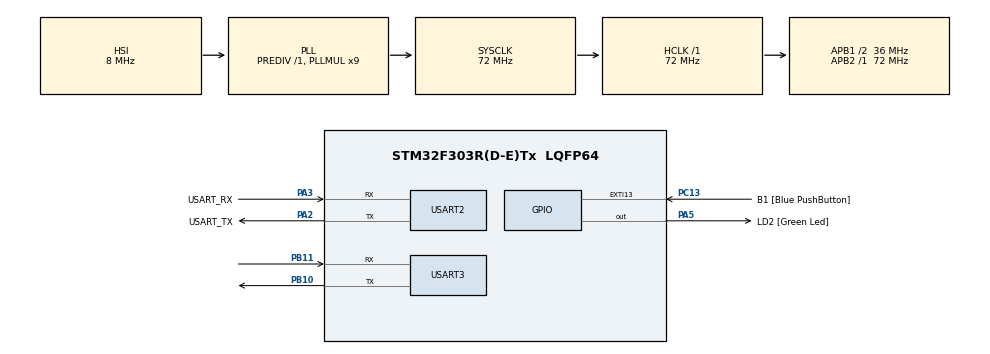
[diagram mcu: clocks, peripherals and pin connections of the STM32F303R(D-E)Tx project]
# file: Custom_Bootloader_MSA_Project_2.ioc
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Mcu.Family=STM32F3
Mcu.Name=STM32F303R(D-E)Tx
Mcu.Package=LQFP64
NVIC.PriorityGroup=NVIC_PRIORITYGROUP_0
PA13.GPIO_Label=TMS
PA13.Mode=Serial_Wire
PA13.Signal=SYS_JTMS-SWDIO
PA14.GPIO_Label=TCK
PA14.Mode=Serial_Wire
PA14.Signal=SYS_JTCK-SWCLK
PA2.GPIO_Label=USART_TX
PA2.GPIO_Mode=GPIO_MODE_AF_PP
PA2.GPIO_PuPd=GPIO_NOPULL
PA2.GPIO_Speed=GPIO_SPEED_FREQ_LOW
PA2.Mode=Asynchronous
PA2.Signal=USART2_TX
PA3.GPIO_Label=USART_RX
PA3.GPIO_Mode=GPIO_MODE_AF_PP
PA3.GPIO_PuPd=GPIO_NOPULL
PA3.GPIO_Speed=GPIO_SPEED_FREQ_LOW
PA3.Mode=Asynchronous
PA3.Signal=USART2_RX
PA5.GPIO_Label=LD2 [Green Led]
PA5.GPIO_Mode=GPIO_MODE_OUTPUT_PP
PA5.GPIO_PuPd=GPIO_NOPULL
PA5.GPIO_Speed=GPIO_SPEED_FREQ_LOW
PA5.Signal=GPIO_Output
PB10.Mode=Asynchronous
PB10.Signal=USART3_TX
PB11.Mode=Asynchronous
PB11.Signal=USART3_RX
PB3.GPIO_Label=SWO
PB3.Signal=SYS_JTDO-TRACESWO
PC13.GPIO_Label=B1 [Blue PushButton]
PC13.GPIO_ModeDefaultEXTI=GPIO_MODE_IT_FALLING
PC13.Signal=GPXTI13
PC14-OSC32_IN.Mode=LSE-External-Oscillator
PC14-OSC32_IN.Signal=RCC_OSC32_IN
PC15-OSC32_OUT.Mode=LSE-External-Oscillator
PC15-OSC32_OUT.Signal=RCC_OSC32_OUT
PF0-OSC_IN.Mode=HSE-External-Clock-Source
PF0-OSC_IN.Signal=RCC_OSC_IN
PF1-OSC_OUT.Signal=RCC_OSC_OUT
ProjectManager.HeapSize=0x200
ProjectManager.StackSize=0x400
ProjectManager.TargetToolchain=STM32CubeIDE
RCC.AHBFreq_Value=72000000
RCC.APB1CLKDivider=RCC_HCLK_DIV2
RCC.APB1Freq_Value=36000000
RCC.APB1TimFreq_Value=72000000
RCC.APB2Freq_Value=72000000
RCC.APB2TimFreq_Value=72000000
RCC.CortexFreq_Value=72000000
RCC.HCLKFreq_Value=72000000
RCC.HSE_VALUE=8000000
RCC.HSI_VALUE=8000000
RCC.PLLM=8
RCC.PLLMUL=RCC_PLL_MUL9
RCC.PLLN=336
RCC.PLLP=RCC_PLLP_DIV4
RCC.PLLQ=7
RCC.RCC_PLLsource_Clock_Source_FROM_HSE=RCC_HSE_PREDIV_DIV2
RCC.SYSCLKFreq_VALUE=72000000
RCC.SYSCLKSourceVirtual=RCC_SYSCLKSOURCE_PLLCLK
RCC.USBFreq_Value=72000000
USART2.VirtualMode-Asynchronous=VM_ASYNC
USART3.VirtualMode-Asynchronous=VM_ASYNC
VP_CRC_VS_CRC.Mode=CRC_Activate
board=NUCLEO-F303RE

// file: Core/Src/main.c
/* USER CODE BEGIN Header */
/**
  ******************************************************************************
  * @file           : main.c
  * @brief          : Main program body
  ******************************************************************************
  * @attention
  *
  * <h2><center>&copy; Copyright (c) 2020 STMicroelectronics.
  * All rights reserved.</center></h2>
  *
  * This software component is licensed by ST under BSD 3-Clause license,
  * the "License"; You may not use this file except in compliance with the
  * License. You may obtain a copy of the License at:
  *                        opensource.org/licenses/BSD-3-Clause
  *
  ******************************************************************************
  */
/* USER CODE END Header */
#include <stdarg.h>
#include <string.h>
#include <stdint.h>
#include <stdio.h>
#include <stdlib.h>
#include "main.h"
#include "xmodem.h"
#include "flash.h"

/* USER CODE BEGIN PM */
#define D_UART   &huart3

#define  BL_DEBUG_MSG_EN
/* USER CODE END PM */

CRC_HandleTypeDef hcrc;

UART_HandleTypeDef huart2;
UART_HandleTypeDef huart3;

/* USER CODE BEGIN PV */
uint32_t *userAppAddr;
uint32_t *userAppCounter;
/* USER CODE END PV */

void SystemClock_Config(void);
static void MX_GPIO_Init(void);
static void MX_USART2_UART_Init(void);
static void MX_CRC_Init(void);
static void MX_USART3_UART_Init(void);
/* USER CODE BEGIN PFP */
#ifdef BL_DEBUG_MSG_EN
static void printmsg(char *format,...);
#endif
void bootloader_uart_read_data(void);
flash_status My_flash_write(uint32_t address, uint32_t *data, uint32_t length);
flash_status  My_flash_erase(uint32_t address);
void Wait_For_EnterKey(void);
/* USER CODE END PFP */

/* USER CODE BEGIN 0 */
#define FLASH_APPS_COUNTER_STORE  0x0807F800
#define FLASH_RECENT_APP_STORE    0x0807F000
#define FLASH_USER_APPS_ADDR_STORE 0x0807E000
/* USER CODE END 0 */

int main(void)
{

  /* MCU Configuration--------------------------------------------------------*/

  /* Reset of all peripherals, Initializes the Flash interface and the Systick. */
  HAL_Init();

  /* Configure the system clock */
  SystemClock_Config();

  /* Initialize all configured peripherals */
  MX_GPIO_Init();
  MX_USART2_UART_Init();
  MX_CRC_Init();
  MX_USART3_UART_Init();
  /* Print the welcome message */
  uart_trnsmt_str((uint8_t*)"\n\r================================\n\r");
  uart_trnsmt_str((uint8_t*)"UART Bootloader\n\r");
  uart_trnsmt_str((uint8_t*)"================================\n\r\n\r");
  userAppAddr = (uint32_t *)FLASH_RECENT_APP_STORE;
  userAppCounter = (uint32_t *)FLASH_APPS_COUNTER_STORE;

  /* Infinite loop */
  /* USER CODE BEGIN WHILE */
  /* Lets check whether button is pressed or not, if not pressed jump to user application */
  while(1){
	  if ( HAL_GPIO_ReadPin(GPIOC,GPIO_PIN_13) == GPIO_PIN_RESET )
	  {
		  bootloader_uart_read_data();
	  }
	  else
	  {
		  if(*userAppAddr == 0xFFFFFFFF){
			  uart_trnsmt_str((uint8_t*)"Flash is empty press Enter Button to go to Bootloader Mode...\n\r");
			  Wait_For_EnterKey();
			  bootloader_uart_read_data();
			  continue;
		  }
		  else{
			  uint8_t noOfApps = *userAppCounter;
			  printmsg("Total Apps Present %d\n\r",noOfApps+1);
			  printmsg("Enter which app to run\n\r");
			  char buff[256],recvd;
			  uint8_t count=0;
				for(int i=0;i<256;i++){
					HAL_UART_Receive(&huart3, (uint8_t *)&recvd,1, HAL_MAX_DELAY);
					if(recvd != '\r'){
						buff[count] = recvd;
						count++;
					}
					else{
						buff[count] = '\0';
						break;
					}
				}
				uint32_t option = (strtol(buff,'\0',0));
				printmsg("Jumping to user application  %d..application %d is running.\n\r",option,option);
				userAppAddr = (uint32_t *)(FLASH_USER_APPS_ADDR_STORE - 0x800*(option-1));
				flash_jump_userapp();

		  }

		}
  }

  /* USER CODE END 3 */
}

/**
  * @brief System Clock Configuration
  * @retval None
  */
void SystemClock_Config(void)
{
  RCC_OscInitTypeDef RCC_OscInitStruct = {0};
  RCC_ClkInitTypeDef RCC_ClkInitStruct = {0};
  RCC_PeriphCLKInitTypeDef PeriphClkInit = {0};

  /** Initializes the RCC Oscillators according to the specified parameters
  * in the RCC_OscInitTypeDef structure.
  */
  RCC_OscInitStruct.OscillatorType = RCC_OSCILLATORTYPE_HSI;
  RCC_OscInitStruct.HSIState = RCC_HSI_ON;
  RCC_OscInitStruct.HSICalibrationValue = RCC_HSICALIBRATION_DEFAULT;
  RCC_OscInitStruct.PLL.PLLState = RCC_PLL_ON;
  RCC_OscInitStruct.PLL.PLLSource = RCC_PLLSOURCE_HSI;
  RCC_OscInitStruct.PLL.PLLMUL = RCC_PLL_MUL9;
  RCC_OscInitStruct.PLL.PREDIV = RCC_PREDIV_DIV1;
  if (HAL_RCC_OscConfig(&RCC_OscInitStruct) != HAL_OK)
  {
    Error_Handler();
  }
  /** Initializes the CPU, AHB and APB buses clocks
  */
  RCC_ClkInitStruct.ClockType = RCC_CLOCKTYPE_HCLK|RCC_CLOCKTYPE_SYSCLK
                              |RCC_CLOCKTYPE_PCLK1|RCC_CLOCKTYPE_PCLK2;
  RCC_ClkInitStruct.SYSCLKSource = RCC_SYSCLKSOURCE_PLLCLK;
  RCC_ClkInitStruct.AHBCLKDivider = RCC_SYSCLK_DIV1;
  RCC_ClkInitStruct.APB1CLKDivider = RCC_HCLK_DIV2;
  RCC_ClkInitStruct.APB2CLKDivider = RCC_HCLK_DIV1;

  if (HAL_RCC_ClockConfig(&RCC_ClkInitStruct, FLASH_LATENCY_2) != HAL_OK)
  {
    Error_Handler();
  }
  PeriphClkInit.PeriphClockSelection = RCC_PERIPHCLK_USART2|RCC_PERIPHCLK_USART3;
  PeriphClkInit.Usart2ClockSelection = RCC_USART2CLKSOURCE_PCLK1;
  PeriphClkInit.Usart3ClockSelection = RCC_USART3CLKSOURCE_PCLK1;
  if (HAL_RCCEx_PeriphCLKConfig(&PeriphClkInit) != HAL_OK)
  {
    Error_Handler();
  }
}

/**
  * @brief CRC Initialization Function
  * @param None
  * @retval None
  */
static void MX_CRC_Init(void)
{

  /* USER CODE BEGIN CRC_Init 0 */

  /* USER CODE END CRC_Init 0 */

  /* USER CODE BEGIN CRC_Init 1 */

  /* USER CODE END CRC_Init 1 */
  hcrc.Instance = CRC;
  hcrc.Init.DefaultPolynomialUse = DEFAULT_POLYNOMIAL_ENABLE;
  hcrc.Init.DefaultInitValueUse = DEFAULT_INIT_VALUE_ENABLE;
  hcrc.Init.InputDataInversionMode = CRC_INPUTDATA_INVERSION_NONE;
  hcrc.Init.OutputDataInversionMode = CRC_OUTPUTDATA_INVERSION_DISABLE;
  hcrc.InputDataFormat = CRC_INPUTDATA_FORMAT_BYTES;
  if (HAL_CRC_Init(&hcrc) != HAL_OK)
  {
    Error_Handler();
  }
  /* USER CODE BEGIN CRC_Init 2 */

  /* USER CODE END CRC_Init 2 */

}

/**
  * @brief USART2 Initialization Function
  * @param None
  * @retval None
  */
static void MX_USART2_UART_Init(void)
{

  /* USER CODE BEGIN USART2_Init 0 */

  /* USER CODE END USART2_Init 0 */

  /* USER CODE BEGIN USART2_Init 1 */

  /* USER CODE END USART2_Init 1 */
  huart2.Instance = USART2;
  huart2.Init.BaudRate = 38400;
  huart2.Init.WordLength = UART_WORDLENGTH_8B;
  huart2.Init.StopBits = UART_STOPBITS_1;
  huart2.Init.Parity = UART_PARITY_NONE;
  huart2.Init.Mode = UART_MODE_TX_RX;
  huart2.Init.HwFlowCtl = UART_HWCONTROL_NONE;
  huart2.Init.OverSampling = UART_OVERSAMPLING_16;
  huart2.Init.OneBitSampling = UART_ONE_BIT_SAMPLE_DISABLE;
  huart2.AdvancedInit.AdvFeatureInit = UART_ADVFEATURE_NO_INIT;
  if (HAL_UART_Init(&huart2) != HAL_OK)
  {
    Error_Handler();
  }
  /* USER CODE BEGIN USART2_Init 2 */

  /* USER CODE END USART2_Init 2 */

}

/**
  * @brief USART3 Initialization Function
  * @param None
  * @retval None
  */
static void MX_USART3_UART_Init(void)
{

  /* USER CODE BEGIN USART3_Init 0 */

  /* USER CODE END USART3_Init 0 */

  /* USER CODE BEGIN USART3_Init 1 */

  /* USER CODE END USART3_Init 1 */
  huart3.Instance = USART3;
  huart3.Init.BaudRate = 38400;
  huart3.Init.WordLength = UART_WORDLENGTH_8B;
  huart3.Init.StopBits = UART_STOPBITS_1;
  huart3.Init.Parity = UART_PARITY_NONE;
  huart3.Init.Mode = UART_MODE_TX_RX;
  huart3.Init.HwFlowCtl = UART_HWCONTROL_NONE;
  huart3.Init.OverSampling = UART_OVERSAMPLING_16;
  huart3.Init.OneBitSampling = UART_ONE_BIT_SAMPLE_DISABLE;
  huart3.AdvancedInit.AdvFeatureInit = UART_ADVFEATURE_NO_INIT;
  if (HAL_UART_Init(&huart3) != HAL_OK)
  {
    Error_Handler();
  }
  /* USER CODE BEGIN USART3_Init 2 */

  /* USER CODE END USART3_Init 2 */

}

/**
  * @brief GPIO Initialization Function
  * @param None
  * @retval None
  */
static void MX_GPIO_Init(void)
{
  GPIO_InitTypeDef GPIO_InitStruct = {0};

  /* GPIO Ports Clock Enable */
  __HAL_RCC_GPIOC_CLK_ENABLE();
  __HAL_RCC_GPIOF_CLK_ENABLE();
  __HAL_RCC_GPIOA_CLK_ENABLE();
  __HAL_RCC_GPIOB_CLK_ENABLE();

  /*Configure GPIO pin Output Level */
  HAL_GPIO_WritePin(LD2_GPIO_Port, LD2_Pin, GPIO_PIN_RESET);

  /*Configure GPIO pin : B1_Pin */
  GPIO_InitStruct.Pin = B1_Pin;
  GPIO_InitStruct.Mode = GPIO_MODE_IT_FALLING;
  GPIO_InitStruct.Pull = GPIO_NOPULL;
  HAL_GPIO_Init(B1_GPIO_Port, &GPIO_InitStruct);

  /*Configure GPIO pin : LD2_Pin */
  GPIO_InitStruct.Pin = LD2_Pin;
  GPIO_InitStruct.Mode = GPIO_MODE_OUTPUT_PP;
  GPIO_InitStruct.Pull = GPIO_NOPULL;
  GPIO_InitStruct.Speed = GPIO_SPEED_FREQ_LOW;
  HAL_GPIO_Init(LD2_GPIO_Port, &GPIO_InitStruct);

}

/* USER CODE BEGIN 4 */
void  bootloader_uart_read_data(void){
	char buff[256],recvd;
	uint8_t count=0;
	/* Ask for new data and start the Xmodem protocol. */
	uart_trnsmt_str((uint8_t*)"Please send a starting address to update the firmware.\n\r");

	for(int i=0;i<256;i++){
		HAL_UART_Receive(&huart3, (uint8_t *)&recvd,1, HAL_MAX_DELAY);
		if(recvd != '\r'){
			buff[count] = recvd;
			count++;
		}
		else{
			buff[count] = '\0';
			break;
		}
	}
	uint32_t tempAddrVal = (strtol(buff,'\0',0));
	uint32_t AppBlock = *userAppCounter + 1;
	My_flash_erase((uint32_t)FLASH_APPS_COUNTER_STORE);
	My_flash_write((uint32_t)FLASH_APPS_COUNTER_STORE,&AppBlock,1);

	My_flash_erase((uint32_t)FLASH_RECENT_APP_STORE);
	My_flash_write((uint32_t)FLASH_RECENT_APP_STORE,&tempAddrVal,1);

	My_flash_erase((uint32_t)FLASH_USER_APPS_ADDR_STORE - 0x800*AppBlock);
	My_flash_write((uint32_t)(FLASH_USER_APPS_ADDR_STORE - 0x800*AppBlock),&tempAddrVal,1);

	/* Ask for new data and start the Xmodem protocol. */
	uart_trnsmt_str((uint8_t*)"Please send a new binary file with Xmodem protocol to update the firmware.\n\r");
	xmodem_rcv();
	/* We only exit the xmodem protocol, if there are any errors.
	 * In that case, notify the user and start over. */
	uart_trnsmt_str((uint8_t*)"\n\rFailed... Please try again.\n\r");
  /* USER CODE END WHILE */

  /* USER CODE BEGIN 3 */
}

/* USER CODE END 4 */
flash_status My_flash_write(uint32_t address, uint32_t *data, uint32_t length)
{
  flash_status status = FLASH_OK;

  HAL_FLASH_Unlock();

  /* Loop through the array. */
  for (uint32_t i = 0u; (i < length) && (FLASH_OK == status); i++)
  {
    /* If we reached the end of the memory, then report an error and don't do anything else.*/

      /* The actual flashing. If there is an error, then report it. */
      if (HAL_OK != HAL_FLASH_Program(FLASH_TYPEPROGRAM_WORD, address, data[i]))
      {
        status |= FLASH_ERROR_WRITE;
      }
      /* Read back the content of the memory. If it is wrong, then report an error. */
      if (((data[i])) != (*(volatile uint32_t*)address))
      {
        status |= FLASH_ERROR_READBACK;
      }

      /* Shift the address by a word. */
      address += 4u;

  }

  HAL_FLASH_Lock();

  return status;
}

flash_status  My_flash_erase(uint32_t address)
{

  HAL_FLASH_Unlock();

  flash_status status = FLASH_ERROR;
  FLASH_EraseInitTypeDef erase_init;
  uint32_t error = 0u;

  erase_init.TypeErase = FLASH_TYPEERASE_PAGES;
  erase_init.PageAddress = address;

  /* Calculate the number of pages from "address" and the end of flash. */
  erase_init.NbPages = 1;
  /* Do the actual erasing. */
  if (HAL_OK == HAL_FLASHEx_Erase(&erase_init, &error))
  {
    status = FLASH_OK;
  }

  HAL_FLASH_Lock();

  return status;
}

void Wait_For_EnterKey(void){
	uint8_t recvd;
	while(1){
		HAL_UART_Receive(&huart3, &recvd, 1, HAL_MAX_DELAY);
		if(recvd == '\r')
			break;
		else
			uart_trnsmt_str((uint8_t*)"Invalid input Press Enter to continue.\n\r");
	}
}
#ifdef BL_DEBUG_MSG_EN
/* prints formatted string to console over UART */
 void printmsg(char *format,...)
{
	char str[256];
	/*Extract the the argument list using VA apis */
	va_list args;
	va_start(args, format);
	vsprintf(str, format,args);
	HAL_UART_Transmit(D_UART,(uint8_t *)str, strlen(str),HAL_MAX_DELAY);
	va_end(args);
 }
#endif

void Error_Handler(void)
{
  __disable_irq();
  while (1)
  {
  }
}

/************************ (C) COPYRIGHT STMicroelectronics *****END OF FILE****/
